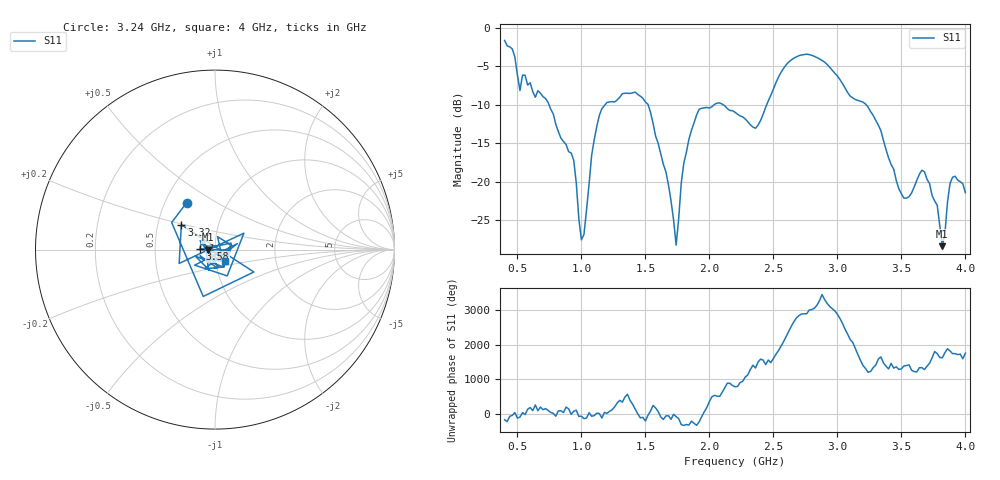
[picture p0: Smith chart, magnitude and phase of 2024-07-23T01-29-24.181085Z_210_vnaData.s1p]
!Created with skrf (http://scikit-rf.org).
# Hz S RI R 50.0
!freq ReS11 ImS11
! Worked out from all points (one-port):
!   181 points, 400 MHz to 4 GHz, reference 50 ohm
!   lowest |S11| = -28.4 dB at 3.82 GHz (marker M1), VSWR 1.08, Z = 46.3 - j0.028 ohm
!   |S11| at or under -10 dB: 746.6 MHz to 1.186 GHz (439.1 MHz wide, 45.5 % of centre); 1.521 GHz to 2.037 GHz (516.2 MHz wide, 29 % of centre); 3.224 GHz to end of sweep (the widest 3 of 4)
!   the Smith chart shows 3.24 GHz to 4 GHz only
!   S11 on the Smith chart (normalised r, x): 3.24 GHz: 0.64, +0.37; 3.32 GHz: 0.66, +0.19; 3.58 GHz: 0.84, +0.01; 4 GHz: 1.11, -0.14
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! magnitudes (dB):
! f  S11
! 400 MHz  -1.7
! 480 MHz  -3.8
! 520 MHz  -8.2
! 720 MHz  -9.2
! 860 MHz  -14.8
! 940 MHz  -17.2
! 1 GHz  -27.6
! 1.14 GHz  -11.4
! 1.3 GHz  -9.0
! 1.52 GHz  -9.9
! 1.66 GHz  -18.7
! 1.74 GHz  -28.3
! 1.76 GHz  -24.8
! 1.8 GHz  -17.6
! 1.92 GHz  -10.6
! 2.2 GHz  -11.0
! 2.36 GHz  -13.1
! 2.66 GHz  -4.0
! 3.1 GHz  -8.9
! 3.24 GHz  -10.3
! 3.32 GHz  -12.7
! 3.56 GHz  -22.0
! 3.58 GHz  -21.5
! 3.68 GHz  -18.7
! 3.78 GHz  -23.1
! 3.82 GHz  -28.4
! 3.9 GHz  -19.4
! 4 GHz  -21.4
